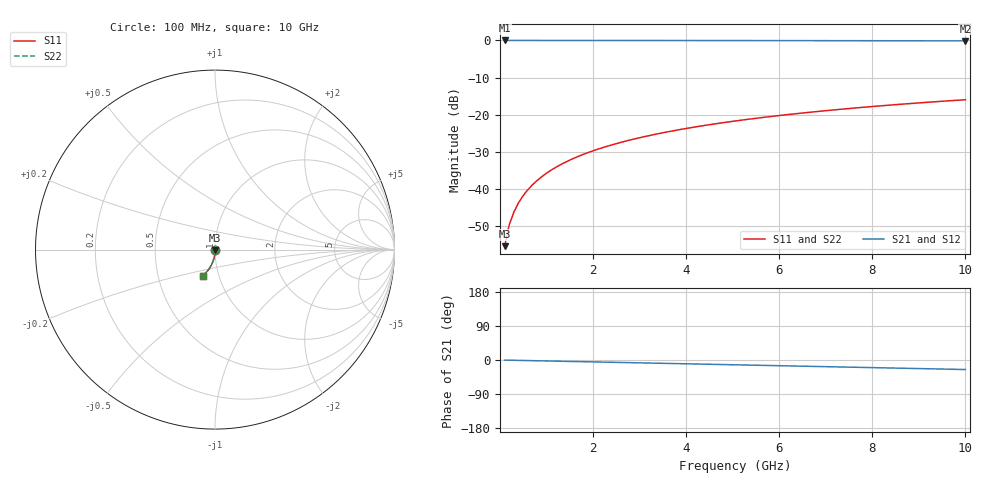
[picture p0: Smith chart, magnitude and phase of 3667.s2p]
# Hz S RI R 50.00
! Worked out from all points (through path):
!   100 points, 100 MHz to 10 GHz, reference 50 ohm
!   highest |S21| = 0.00 dB at 100 MHz (marker M1); lowest = -0.1 dB at 10 GHz (marker M2)
!   group delay of S21, straight-line fit = 6.99 ps
!   lowest |S11| = -55.3 dB at 100 MHz (marker M3), VSWR 1.00, Z = 50 - j0.164 ohm
!   |S11| at or under -10 dB: start of sweep to end of sweep
!   |S22| runs from -55.3 to -15.9 dB; largest |S21 - S12| = 0
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1e8  0.000493 -0.00164  0.9995 -0.00436  0.9995 -0.00436  0.000493 -0.00164
2e8  0.000472 -0.00328  0.9994 -0.00872  0.9994 -0.00872  0.000472 -0.00328
3e8  0.000436 -0.00492  0.9994 -0.0131  0.9994 -0.0131  0.000436 -0.00492
4e8  0.000385 -0.00656  0.9993 -0.0174  0.9993 -0.0174  0.000385 -0.00656
5e8  0.000319 -0.0082  0.9992 -0.0218  0.9992 -0.0218  0.000319 -0.0082
6e8  0.000239 -0.00984  0.9991 -0.0262  0.9991 -0.0262  0.000239 -0.00984
7e8  0.000145 -0.0115  0.9989 -0.0305  0.9989 -0.0305  0.000145 -0.0115
8e8  3.58e-05 -0.0131  0.9988 -0.0349  0.9988 -0.0349  3.58e-05 -0.0131
9e8  -8.75e-05 -0.0148  0.9986 -0.0393  0.9986 -0.0393  -8.75e-05 -0.0148
1.1e9  -0.000377 -0.018  0.9981 -0.048  0.9981 -0.048  -0.000377 -0.018
1.4e9  -0.00092 -0.0229  0.9973 -0.0611  0.9973 -0.0611  -0.00092 -0.0229
1.8e9  -0.00184 -0.0294  0.9959 -0.0785  0.9959 -0.0785  -0.00184 -0.0294
2.1e9  -0.00269 -0.0343  0.9946 -0.0915  0.9946 -0.0915  -0.00269 -0.0343
2.5e9  -0.00401 -0.0408  0.9926 -0.1089  0.9926 -0.1089  -0.00401 -0.0408
2.9e9  -0.00556 -0.0472  0.9902 -0.1262  0.9902 -0.1262  -0.00556 -0.0472
3.4e9  -0.00782 -0.0551  0.9868 -0.1479  0.9868 -0.1479  -0.00782 -0.0551
4.2e9  -0.0121 -0.0676  0.9802 -0.1822  0.9802 -0.1822  -0.0121 -0.0676
5.1e9  -0.0181 -0.0813  0.9711 -0.2206  0.9711 -0.2206  -0.0181 -0.0813
5.9e9  -0.0242 -0.0931  0.9616 -0.2543  0.9616 -0.2543  -0.0242 -0.0931
6.7e9  -0.0312 -0.1043  0.9507 -0.2876  0.9507 -0.2876  -0.0312 -0.1043
8.4e9  -0.0485 -0.1264  0.9235 -0.3566  0.9235 -0.3566  -0.0485 -0.1264
1e10  -0.0675 -0.1445  0.8929 -0.4189  0.8929 -0.4189  -0.0675 -0.1445
